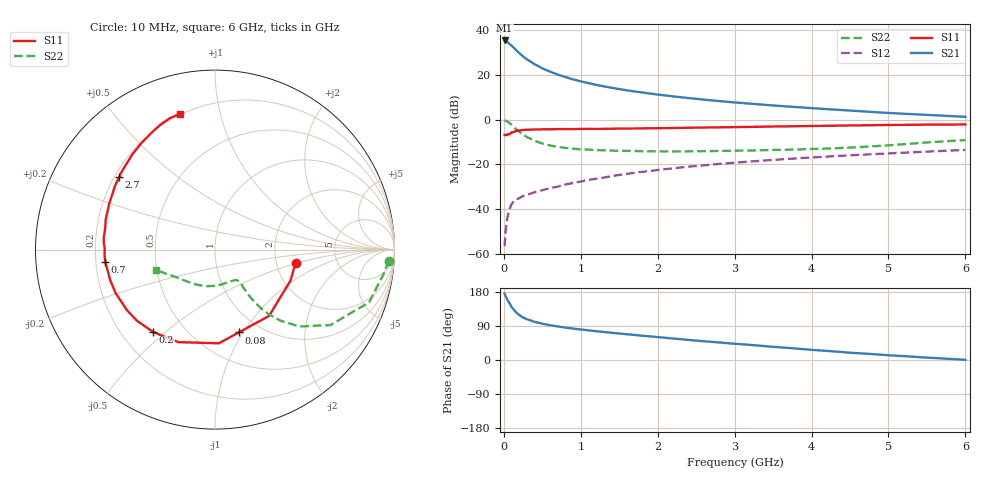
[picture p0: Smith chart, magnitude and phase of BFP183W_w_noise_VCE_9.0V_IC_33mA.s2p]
! Infineon Technologies  Discrete & RF Semiconductors
! BFP183W
! VCE =  9.0 V,  IC =  33 mA
! Common Emitter S-Parameters:  Jan 2017
# GHz  S  MA  R  50
!  f  S11  S21  S12  S22
! GHz  MAG  ANG  MAG  ANG  MAG  ANG  MAG  ANG
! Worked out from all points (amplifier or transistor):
!   77 points, 10 MHz to 6 GHz, reference 50 ohm
!   highest |S21| = 35.3 dB at 10 MHz (marker M1)
!   |S21| within 3 dB of that: start of sweep to 121.6 MHz
!   unconditionally stable (mu >= 1): 977.6 MHz to 3.398 GHz
!   at 130 MHz: K = 0.30, MSG = 34.3 dB, |S12| = -36.5 dB
!   at 2.2 GHz: K = 1.06, MAG = 14.6 dB, |S12| = -21.7 dB
!   at 6 GHz: K = 0.85, MSG = 7.4 dB, |S12| = -13.5 dB
!   lowest NFmin = 1.47 dB at 450 MHz
!   S11 on the Smith chart (normalised r, x): 10 MHz: 2.56, -0.49; 80 MHz: 0.80, -0.96; 200 MHz: 0.33, -0.46; 700 MHz: 0.24, -0.05; 2.7 GHz: 0.22, +0.32; 6 GHz: 0.19, +0.75
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0.01  0.4551 -9.6  58.54 175.1  0.0015 87.0  0.9693 -3.6
0.02  0.4548 -22.5  57.78 170.1  0.0028 83.5  0.9523 -7.7
0.05  0.4768 -50.9  53.75 157.5  0.007 72.2  0.9074 -18.9
0.08  0.4801 -73.9  48.04 147.6  0.0106 65.9  0.8176 -26.9
0.1  0.5226 -87.7  45.2 139.7  0.013 63.6  0.7682 -33.2
0.15  0.5548 -111.7  37.03 127.4  0.0163 54.4  0.6363 -42.3
0.2  0.5739 -126.8  30.59 118.6  0.0177 51.5  0.5377 -47.4
0.25  0.5887 -137.8  25.83 112.2  0.0198 49.0  0.4634 -50.4
0.3  0.5956 -145.7  22.17 107.5  0.0209 48.3  0.4081 -52.1
0.4  0.6044 -156.4  17.25 100.5  0.024 49.7  0.3367 -53.4
0.5  0.6082 -163.7  13.99 95.7  0.0266 52.4  0.2933 -53.4
0.6  0.6097 -169.3  11.79 91.8  0.0297 53.0  0.265 -53.3
0.7  0.615 -173.6  10.14 88.6  0.032 56.3  0.2462 -52.7
0.9  0.6145 179.4  7.923 82.9  0.0387 59.3  0.2249 -53.0
1.1  0.6235 173.8  6.524 78.3  0.0451 60.5  0.2141 -53.7
1.5  0.6316 164.7  4.804 69.9  0.0583 62.0  0.2012 -57.8
2.1  0.6475 152.9  3.467 58.6  0.0786 61.8  0.1957 -69.2
2.7  0.6698 142.9  2.695 47.9  0.099 59.4  0.1991 -84.4
3.1  0.6848 136.7  2.348 41.4  0.1127 57.4  0.2035 -94.8
4.1  0.7255 123.1  1.764 25.4  0.1464 51.8  0.2234 -121.3
5.1  0.7627 112.5  1.383 11.4  0.1795 45.5  0.2751 -147.5
6  0.781 104.6  1.157 0.4  0.2111 39.4  0.3497 -161.4
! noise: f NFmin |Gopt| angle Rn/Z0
0.45  1.47  0.28  -179  0.1
0.9  1.51  0.31  -177  0.1
1.9  2  0.46  -156  0.11
2.4  2.24  0.51  -151  0.16
